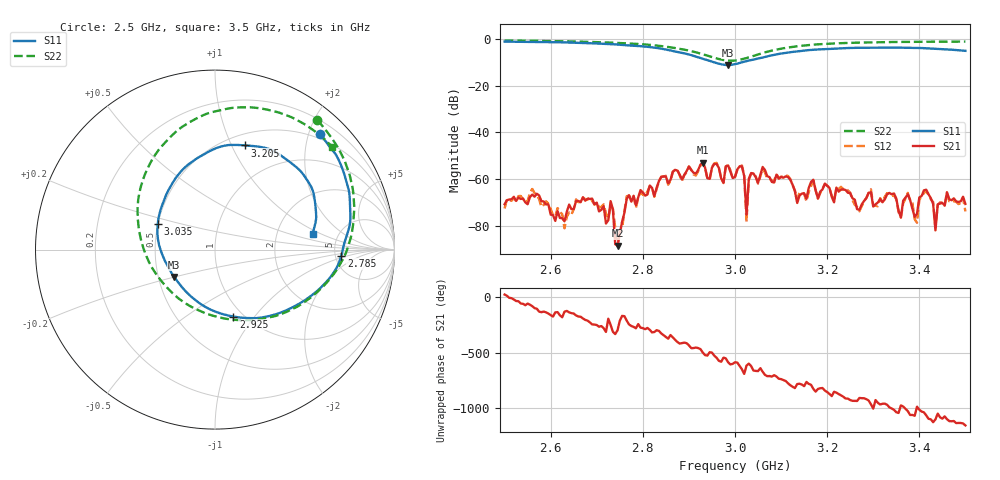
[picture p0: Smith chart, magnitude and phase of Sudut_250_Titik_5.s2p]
# Hz S RI R 50
! CMT, C1220, 16058040, 17.2.0/1
! Date: 15/08/2018 10:26:45
! Data: Format (Calibration Info)
! Freq  S11: Re/Im (F2)  S21: Re/Im (F2)  S12: Re/Im (F2)  S22: Re/Im (F2)
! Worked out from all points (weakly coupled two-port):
!   201 points, 2.5 GHz to 3.5 GHz, reference 50 ohm
!   highest |S21| = -53.06 dB at 2.93 GHz (marker M1); lowest = -88.5 dB at 2.745 GHz (marker M2)
!   lowest |S11| = -11.2 dB at 2.985 GHz (marker M3), VSWR 1.76, Z = 30.2 - j9.99 ohm
!   |S11| at or under -10 dB: 2.954 GHz to 3.017 GHz (63.03 MHz wide, 2.11 % of centre)
!   |S22| runs from -9.4 to -0.7 dB; largest |S21 - S12| = 0.0002
!   S11 on the Smith chart (normalised r, x): 2.5 GHz: 0.42, +2.19; 2.785 GHz: 5.64, -0.80; 2.925 GHz: 0.90, -0.79; 3.035 GHz: 0.50, +0.16; 3.205 GHz: 0.62, +1.13; 3.5 GHz: 3.23, +0.81
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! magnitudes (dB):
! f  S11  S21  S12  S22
! 2.5 GHz  -1.2  -70.8  -72.6  -0.7
! 2.56 GHz  -1.3  -66.7  -64.2  -0.9
! 2.63 GHz  -1.6  -78.1  -81.0  -1.1
! 2.67 GHz  -1.8  -67.8  -67.8  -1.3
! 2.745 GHz  -2.5  -88.5  -88.7  -1.8
! 2.785 GHz  -3.0  -71.2  -72.3  -2.2
! 2.835 GHz  -4.1  -60.8  -61.0  -3.0
! 2.925 GHz  -8.3  -53.8  -54.3  -6.3
! 2.93 GHz  -8.6  -53.1  -52.9  -6.6
! 2.985 GHz  -11.2  -54.1  -53.9  -9.3
! 3 GHz  -10.9  -59.2  -59.0  -9.3
! 3.015 GHz  -10.1  -54.6  -54.2  -8.8
! 3.025 GHz  -9.6  -75.2  -78.2  -8.3
! 3.035 GHz  -9.1  -57.4  -57.7  -7.7
! 3.17 GHz  -4.7  -60.3  -60.5  -2.5
! 3.205 GHz  -4.4  -63.8  -63.7  -2.1
! 3.335 GHz  -3.8  -65.9  -66.1  -1.4
! 3.395 GHz  -3.9  -74.8  -78.7  -1.3
! 3.415 GHz  -4.1  -64.6  -65.3  -1.3
! 3.435 GHz  -4.3  -81.9  -80.7  -1.3
! 3.46 GHz  -4.6  -65.6  -66.1  -1.2
! 3.5 GHz  -5.2  -70.6  -73.8  -1.2
